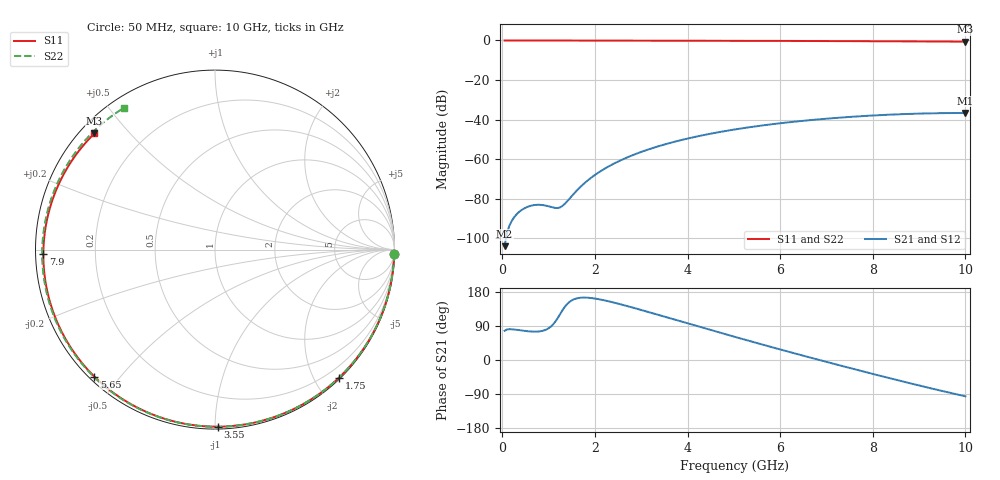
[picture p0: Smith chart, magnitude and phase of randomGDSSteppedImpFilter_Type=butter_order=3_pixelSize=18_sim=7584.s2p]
! freq	dB(S11)	phase(S11)	dB(S12)	phase(S12)
!  dB(S21)	phase(S21)	dB(S22)	phase(S22)
!S-par simulation data
#  GHz  S  DB  R 50
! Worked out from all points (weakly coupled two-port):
!   200 points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, 50 MHz to 10 GHz, reference 50 ohm
!   highest |S21| = -36.68 dB at 10 GHz (marker M1); lowest = -104.1 dB at 50 MHz (marker M2)
!   lowest |S11| = -0.6 dB at 10 GHz (marker M3), VSWR 28.68, Z = 2.03 + j20.1 ohm
!   |S11| at or under -10 dB: nowhere
!   |S22| runs from -0.5 to 0.0 dB; largest |S21 - S12| = 0
!   S11 on the Smith chart (normalised r, x): 50 MHz: 3, -88; 1.75 GHz: 0.02, -2.36; 3.55 GHz: 0.01, -1.02; 5.65 GHz: 0.01, -0.43; 7.9 GHz: 0.02, -0.01; 10 GHz: 0.04, +0.40
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0.05  -0.01 -1.3  -104.06 77.2  -104.06 77.2  -0.00 -1.5
0.4  -0.02 -10.7  -86.05 78.1  -86.05 78.1  -0.02 -12.1
0.7  -0.02 -18.7  -83.23 74.8  -83.23 74.8  -0.03 -21.2
1.05  -0.04 -27.9  -84.25 88.2  -84.25 88.2  -0.04 -31.6
1.45  -0.05 -38.3  -80.05 153.1  -80.05 153.1  -0.05 -43.2
1.75  -0.06 -46.0  -72.70 164.7  -72.70 164.7  -0.06 -51.7
2.05  -0.07 -53.5  -67.24 161.2  -67.24 161.2  -0.07 -60.1
2.45  -0.08 -63.3  -61.83 150.3  -61.83 150.3  -0.09 -70.9
2.9  -0.09 -74.1  -57.25 135.5  -57.25 135.5  -0.10 -82.6
3.4  -0.11 -85.6  -53.32 118.0  -53.32 118.0  -0.12 -95.1
3.55  -0.12 -89.0  -52.30 112.7  -52.30 112.7  -0.12 -98.7
4.25  -0.14 -104.4  -48.33 88.0  -48.33 88.0  -0.15 -115.1
5.05  -0.18 -121.3  -44.91 60.1  -44.91 60.1  -0.19 -132.9
5.65  -0.21 -133.5  -42.89 39.6  -42.89 39.6  -0.22 -145.6
6.2  -0.25 -144.6  -41.36 21.2  -41.36 21.2  -0.25 -157.1
6.7  -0.28 -154.5  -40.19 4.8  -40.19 4.8  -0.29 -167.3
7.3  -0.33 -166.4  -39.02 -14.6  -39.02 -14.6  -0.33 -179.6
7.9  -0.38 -178.5  -38.10 -33.6  -38.10 -33.6  -0.38 168.1
8.35  -0.43 172.3  -37.55 -47.5  -37.55 -47.5  -0.41 158.7
8.8  -0.47 162.8  -37.14 -61.2  -37.14 -61.2  -0.45 149.1
9.2  -0.52 154.2  -36.89 -73.1  -36.89 -73.1  -0.48 140.5
10  -0.61 136.1  -36.68 -95.8  -36.68 -95.8  -0.55 122.6
